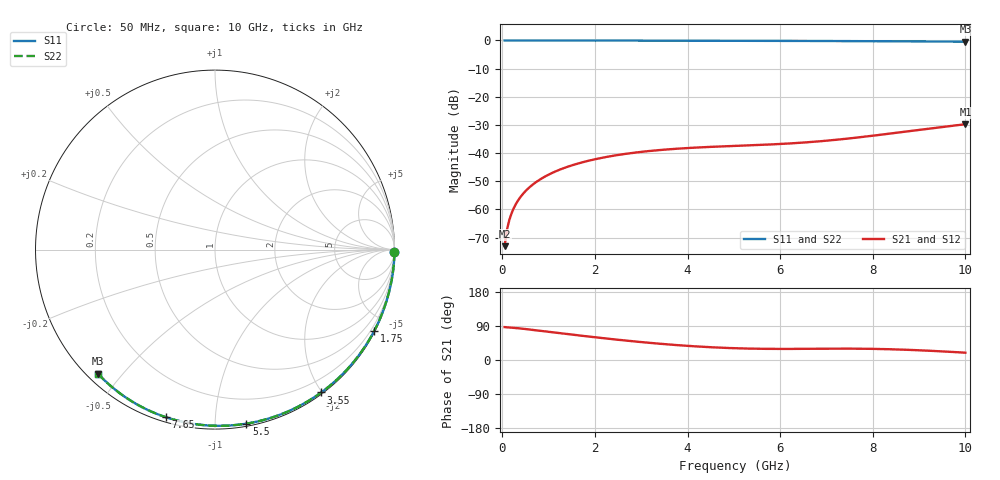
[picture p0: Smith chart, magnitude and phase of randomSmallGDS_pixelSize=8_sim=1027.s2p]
! freq	dB(S11)	phase(S11)	dB(S12)	phase(S12)
!  dB(S21)	phase(S21)	dB(S22)	phase(S22)
!S-par simulation data
#  GHz  S  DB  R 50
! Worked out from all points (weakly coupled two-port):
!   200 points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, 50 MHz to 10 GHz, reference 50 ohm
!   highest |S21| = -29.75 dB at 10 GHz (marker M1); lowest = -73.1 dB at 50 MHz (marker M2)
!   lowest |S11| = -0.4 dB at 10 GHz (marker M3), VSWR 39.38, Z = 1.51 - j21.6 ohm
!   |S11| at or under -10 dB: nowhere
!   |S22| runs from -0.4 to 0.0 dB; largest |S21 - S12| = 0
!   S11 on the Smith chart (normalised r, x): 50 MHz: open; 1.75 GHz: 0.04, -4.17; 3.55 GHz: 0.02, -1.99; 5.5 GHz: 0.02, -1.20; 7.65 GHz: 0.02, -0.75; 10 GHz: 0.03, -0.43
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0.05  -0.00 -0.8  -73.07 86.8  -73.07 86.8  -0.00 -0.8
0.1  -0.00 -1.6  -67.29 86.3  -67.29 86.3  -0.00 -1.6
0.15  -0.00 -2.4  -63.86 86.0  -63.86 86.0  -0.00 -2.4
0.2  -0.00 -3.1  -61.40 85.6  -61.40 85.6  -0.00 -3.1
0.25  -0.00 -3.9  -59.49 85.1  -59.49 85.1  -0.00 -3.9
0.35  -0.00 -5.5  -56.59 83.8  -56.59 83.8  -0.00 -5.5
0.5  -0.01 -7.8  -53.53 81.7  -53.53 81.7  -0.01 -7.8
0.7  -0.01 -10.9  -50.66 78.8  -50.66 78.8  -0.01 -10.9
1  -0.02 -15.5  -47.66 74.4  -47.66 74.4  -0.02 -15.5
1.35  -0.03 -20.9  -45.21 69.2  -45.21 69.2  -0.03 -20.9
1.75  -0.03 -27.0  -43.19 63.5  -43.19 63.5  -0.03 -26.9
2.5  -0.05 -38.1  -40.67 53.4  -40.67 53.4  -0.05 -38.1
3.4  -0.07 -51.2  -38.92 42.9  -38.92 42.9  -0.07 -51.2
3.55  -0.07 -53.3  -38.72 41.4  -38.72 41.4  -0.07 -53.3
4.3  -0.09 -63.8  -37.95 35.0  -37.95 35.0  -0.09 -63.8
5.05  -0.11 -73.9  -37.44 31.0  -37.44 31.0  -0.11 -73.9
5.5  -0.13 -79.8  -37.15 29.7  -37.15 29.7  -0.13 -79.8
6.7  -0.18 -94.9  -36.03 29.6  -36.03 29.6  -0.18 -94.9
7.65  -0.24 -106.4  -34.51 29.9  -34.51 29.9  -0.24 -106.3
8.35  -0.29 -114.6  -33.13 28.5  -33.13 28.5  -0.29 -114.5
9.15  -0.36 -123.7  -31.47 24.8  -31.47 24.8  -0.36 -123.7
10  -0.44 -133.3  -29.75 19.3  -29.75 19.3  -0.44 -133.2
